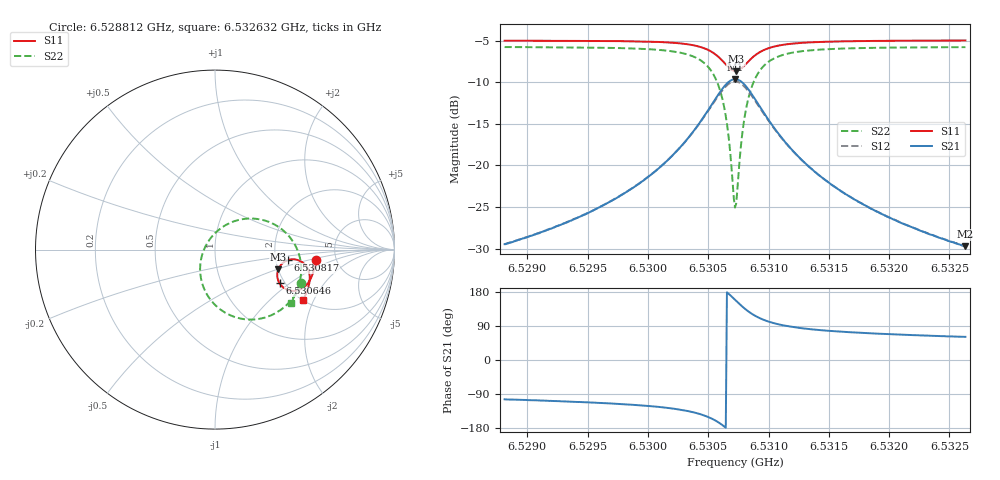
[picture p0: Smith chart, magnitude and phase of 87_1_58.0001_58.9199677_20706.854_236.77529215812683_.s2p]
#  HZ  S  RI  R  50.00
! Rohde & Schwarz Vector Network Analyzer
! Rohde-Schwarz,ZNB20-2Port,1311601062101988,3.16
! Created: UTC 3/21/2024, 12:54:08 AM
! freq[Hz]  re:S11  im:S11  re:S21  im:S21  re:S12  im:S12  re:S22  im:S22
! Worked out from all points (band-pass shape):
!   401 points, 6.528812 GHz to 6.532632 GHz, reference 50 ohm
!   highest |S21| = -9.61 dB at 6.530722 GHz (marker M1); lowest = -29.7 dB at 6.532632 GHz (marker M2)
!   |S21| within 3 dB of the highest: 6.530532 GHz to 6.530914 GHz (382.1 kHz wide, 0.00585 % of centre)
!   lowest |S11| = -8.7 dB at 6.530732 GHz (marker M3), VSWR 2.17, Z = 100 - j25.5 ohm
!   |S11| at or under -10 dB: nowhere
!   |S22| runs from -25.1 to -5.8 dB; largest |S21 - S12| = 0.014
!   S11 on the Smith chart (normalised r, x): 6.528812 GHz: 3.48, -0.57; 6.530646 GHz: 1.88, -0.84; 6.530817 GHz: 2.34, -0.33; 6.532632 GHz: 2.02, -1.66
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6.5288119e9  0.5606 -0.0561  -0.00798 -0.0326  -0.00874 -0.0324  0.4811 -0.1858
6.5294517e9  0.5512 -0.1108  -0.018 -0.0465  -0.0191 -0.046  0.4487 -0.2479
6.5297765e9  0.5417 -0.1422  -0.0293 -0.0592  -0.0308 -0.0585  0.4186 -0.288
6.5300916e9  0.524 -0.1783  -0.0537 -0.0801  -0.0562 -0.0784  0.3627 -0.3381
6.5303209e9  0.4943 -0.2102  -0.0991 -0.1024  -0.1023 -0.0987  0.2711 -0.3806
6.5304832e9  0.4463 -0.2295  -0.1756 -0.1084  -0.1783 -0.1007  0.1307 -0.3814
6.5305787e9  0.3966 -0.2211  -0.2531 -0.0757  -0.2514 -0.0644  0.00308 -0.3108
6.5306456e9  0.3597 -0.1878  -0.3063 -0.00676  -0.2988 0.00425  -0.0727 -0.1843
6.5306742e9  0.3497 -0.1644  -0.318 0.037  -0.3079 0.0463  -0.0832 -0.1097
6.5307029e9  0.3466 -0.1375  -0.3174 0.0858  -0.3053 0.0921  -0.0721 -0.0299
6.530722e9  0.3495 -0.119  -0.3088 0.1182  -0.2962 0.1222  -0.0516 0.0212
6.5307315e9  0.3524 -0.1101  -0.302 0.1336  -0.2895 0.1365  -0.0377 0.0452
6.5307411e9  0.3562 -0.1016  -0.2939 0.1483  -0.2815 0.1501  -0.0216 0.0675
6.5307793e9  0.3788 -0.0737  -0.2499 0.1956  -0.2394 0.1935  0.0592 0.1365
6.5308175e9  0.4075 -0.0581  -0.1977 0.2211  -0.19 0.2173  0.1498 0.169
6.5308843e9  0.454 -0.0562  -0.1165 0.2244  -0.1127 0.2208  0.2862 0.1592
6.5309798e9  0.4954 -0.0779  -0.0464 0.192  -0.0445 0.1899  0.4 0.0881
6.5311231e9  0.5203 -0.1146  -0.00334 0.1424  -0.00219 0.1417  0.4633 -0.0127
6.5313619e9  0.5278 -0.159  0.0152 0.0936  0.0161 0.0931  0.4805 -0.1152
6.5316197e9  0.5243 -0.192  0.0185 0.0662  0.0194 0.0658  0.473 -0.1781
6.5320018e9  0.5134 -0.2295  0.0181 0.0451  0.0188 0.0449  0.4545 -0.2356
6.5326321e9  0.4913 -0.2795  0.0158 0.0286  0.0164 0.0283  0.4217 -0.2959
